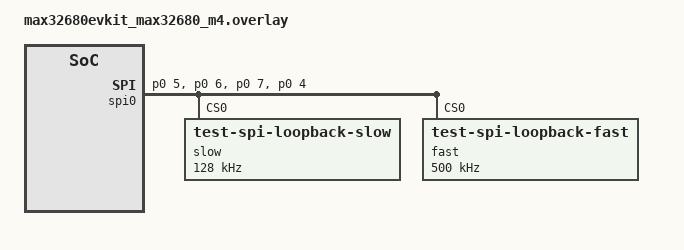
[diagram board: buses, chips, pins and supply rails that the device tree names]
/*
 * Copyright (c) 2024 Analog Devices, Inc.
 *
 * SPDX-License-Identifier: Apache-2.0
 */

&spi0 {
	status = "okay";
	pinctrl-0 = <&spi0a_mosi_p0_5 &spi0a_miso_p0_6 &spi0a_sck_p0_7 &spi0a_ss0_p0_4>;
	pinctrl-names = "default";

	slow@0 {
		compatible = "test-spi-loopback-slow";
		reg = <0>;
		spi-max-frequency = <128000>;
	};
	fast@0 {
		compatible = "test-spi-loopback-fast";
		reg = <0>;
		spi-max-frequency = <500000>;
	};
};
